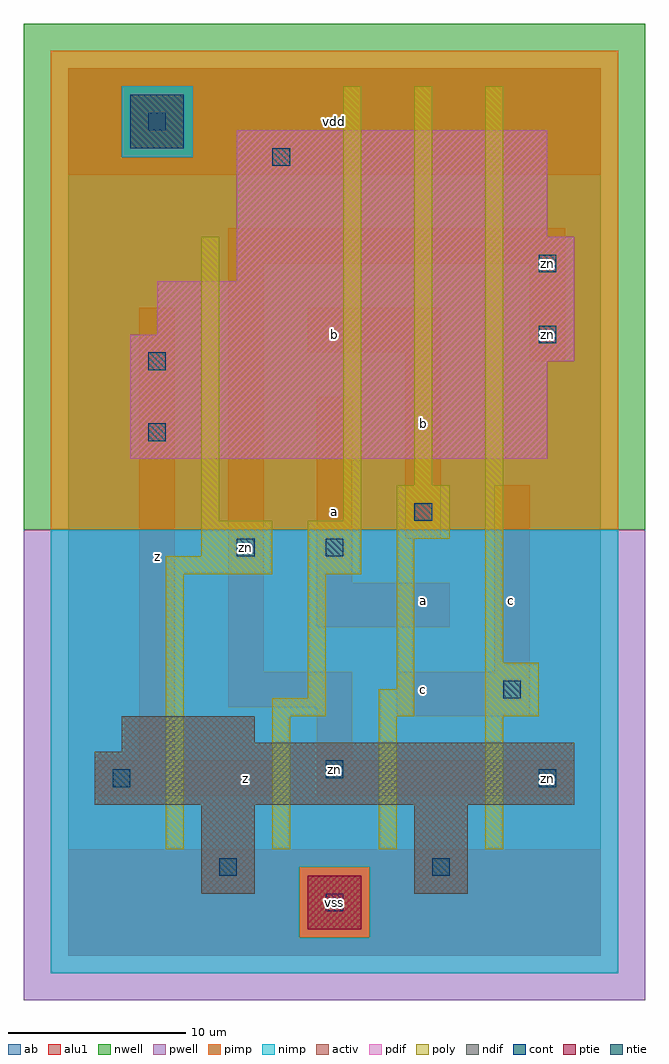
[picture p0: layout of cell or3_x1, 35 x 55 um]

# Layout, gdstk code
import gdstk
lib = gdstk.Library(unit=1e-6, precision=1e-09)
def R(c, l, rs):  # rectangles x0, y0, x1, y1
    for r in rs: c.add(gdstk.rectangle(r[:2], r[2:], *l))
def A(c, l, x, y, w, h, nx, ny, dx, dy):  # array of equal rectangles
    R(c, l, [(x+i*dx, y+j*dy, x+i*dx+w, y+j*dy+h) for i in range(nx) for j in range(ny)])
ndif = (3, 0)
pdif = (4, 0)
ntie = (5, 0)
ptie = (6, 0)
cont = (25, 0)
pwell = (41, 0)
nwell = (42, 0)
activ = (43, 0)
pimp = (44, 0)
nimp = (45, 0)
poly = (46, 0)
alu1 = (49, 0)
ab = (63, 0)

or3_x1 = lib.new_cell('or3_x1')
R(or3_x1, ndif, [(7.5,3.5,10.5,8.5), (19.5,3.5,22.5,8.5), (1.5,8.5,28.5,11.5), (3,11.5,28.5,12), (3,12,10.5,13.5)])
R(or3_x1, pdif, [(3.5,28,27,33.5), (3.5,33.5,28.5,35), (5,35,28.5,38), (9.5,38,28.5,40.5), (9.5,40.5,27,46.5)])
R(or3_x1, ntie, [(3.5,45.5,6.5,48.5)])
R(or3_x1, ptie, [(13.5,1.5,16.5,4.5)])
R(or3_x1, cont, [(14.5,2.5,15.5,3.5), (8.5,4.5,9.5,5.5), (20.5,4.5,21.5,5.5), (2.5,9.5,3.5,10.5), (26.5,9.5,27.5,10.5), (14.5,10,15.5,11), (24.5,14.5,25.5,15.5), (9.5,22.5,10.5,23.5), (14.5,22.5,15.5,23.5), (19.5,24.5,20.5,25.5), (4.5,29,5.5,30), (4.5,33,5.5,34), (26.5,34.5,27.5,35.5), (26.5,38.5,27.5,39.5), (11.5,44.5,12.5,45.5), (4.5,46.5,5.5,47.5)])
R(or3_x1, pwell, [(-2.5,-2.5,32.5,24)])
R(or3_x1, nwell, [(-2.5,24,32.5,52.5)])
R(or3_x1, activ, [(13.5,1.5,16.5,4.5), (7.5,3.5,10.5,8.5), (19.5,3.5,22.5,8.5), (1.5,8.5,28.5,11.5), (3,11.5,28.5,12), (3,12,10.5,13.5), (3.5,28,27,33.5), (3.5,33.5,28.5,35), (5,35,28.5,38), (9.5,38,28.5,40.5), (9.5,40.5,27,46.5), (3.5,45.5,6.5,48.5)])
R(or3_x1, pimp, [(13,1,17,5), (-1,24,31,45), (-1,45,3,49), (7,45,31,49), (-1,49,31,51)])
R(or3_x1, nimp, [(-1,-1,31,1), (-1,1,13,5), (17,1,31,5), (-1,5,31,24), (3,45,7,49)])
A(or3_x1, poly, 11.5, 6, 1, 7.5, 3, 1, 6, 0)
R(or3_x1, poly, [(5.5,6,6.5,21.5), (11.5,13.5,14.5,14.5), (17.5,13.5,19.5,15), (23.5,13.5,26.5,16.5), (13.5,14.5,14.5,21.5), (18.5,15,19.5,23.5), (23.5,16.5,24.5,49), (5.5,21.5,11.5,22.5), (13.5,21.5,16.5,24.5), (7.5,22.5,11.5,24.5), (18.5,23.5,21.5,26.5), (7.5,24.5,8.5,40.5), (15.5,24.5,16.5,49), (19.5,26.5,20.5,49)])
R(or3_x1, alu1, [(0,0,30,6), (0,0,30,6), (1.5,9,11.5,11), (1.5,9,11.5,11), (14,9,28.5,11), (14,9,28.5,11), (4,11,6,36.5), (4,11,6,36.5), (14,11,16,14), (14,11,16,14), (18.5,13.5,26,16), (18.5,13.5,26,16), (9,14,16,16), (9,14,16,16), (9,16,11,39), (9,16,11,39), (24,16,26,26.5), (24,16,26,26.5), (14,18.5,21.5,21), (14,18.5,21.5,21), (14,21,16,31.5), (14,21,16,31.5), (19,23.5,21,34), (19,23.5,21,34), (26,33.5,28,39), (26,33.5,28,39), (13.5,34,21,36.5), (13.5,34,21,36.5), (9,39,28,41), (9,39,28,41), (0,44,30,50), (0,44,30,50)])
R(or3_x1, ab, [(0,0,30,50)])
or3_x1.add(gdstk.Label('zn', (15,10.5), layer=49, texttype=0))
or3_x1.add(gdstk.Label('zn', (10,23), layer=49, texttype=0))
or3_x1.add(gdstk.Label('zn', (27,10), layer=49, texttype=0))
or3_x1.add(gdstk.Label('zn', (27,39), layer=49, texttype=0))
or3_x1.add(gdstk.Label('zn', (27,35), layer=49, texttype=0))
or3_x1.add(gdstk.Label('z', (5,22.5), layer=49, texttype=0))
or3_x1.add(gdstk.Label('z', (10,10), layer=49, texttype=0))
or3_x1.add(gdstk.Label('vss', (15,3), layer=49, texttype=0))
or3_x1.add(gdstk.Label('a', (20,20), layer=49, texttype=0))
or3_x1.add(gdstk.Label('c', (20,15), layer=49, texttype=0))
or3_x1.add(gdstk.Label('a', (15,25), layer=49, texttype=0))
or3_x1.add(gdstk.Label('b', (15,35), layer=49, texttype=0))
or3_x1.add(gdstk.Label('b', (20,30), layer=49, texttype=0))
or3_x1.add(gdstk.Label('vdd', (15,47), layer=49, texttype=0))
or3_x1.add(gdstk.Label('c', (25,20), layer=49, texttype=0))

lib.write_gds('or3_x1.gds')
